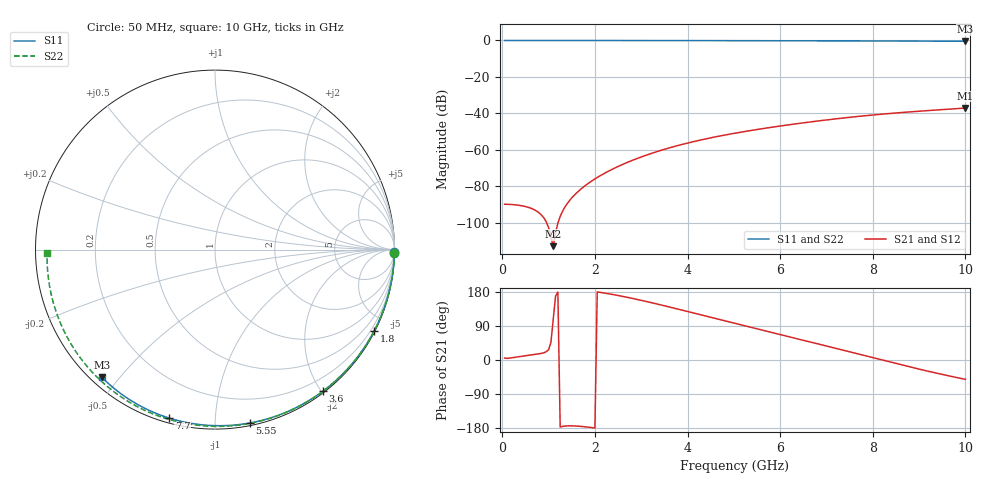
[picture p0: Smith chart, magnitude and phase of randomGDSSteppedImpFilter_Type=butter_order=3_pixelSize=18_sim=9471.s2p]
! freq	dB(S11)	phase(S11)	dB(S12)	phase(S12)
!  dB(S21)	phase(S21)	dB(S22)	phase(S22)
!S-par simulation data
#  GHz  S  DB  R 50
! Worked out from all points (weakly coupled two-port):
!   200 points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, 50 MHz to 10 GHz, reference 50 ohm
!   highest |S21| = -37.04 dB at 10 GHz (marker M1); lowest = -112.7 dB at 1.1 GHz (marker M2)
!   lowest |S11| = -0.4 dB at 10 GHz (marker M3), VSWR 39.19, Z = 1.53 - j22.5 ohm
!   |S11| at or under -10 dB: nowhere
!   |S22| runs from -0.6 to 0.0 dB; largest |S21 - S12| = 0
!   S11 on the Smith chart (normalised r, x): 50 MHz: open; 1.8 GHz: 0.04, -4.17; 3.6 GHz: 0.02, -2.02; 5.55 GHz: 0.02, -1.22; 7.7 GHz: 0.02, -0.77; 10 GHz: 0.03, -0.45
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0.05  -0.00 -0.8  -89.77 5.1  -89.77 5.1  -0.00 -1.0
0.55  -0.01 -8.3  -91.35 12.1  -91.35 12.1  -0.02 -11.4
1.1  -0.02 -16.6  -112.74 107.5  -112.74 107.5  -0.03 -22.6
1.75  -0.03 -26.2  -80.35 -175.8  -80.35 -175.8  -0.04 -35.6
1.8  -0.03 -27.0  -79.37 -176.4  -79.37 -176.4  -0.05 -36.5
1.95  -0.04 -29.2  -76.69 -178.6  -76.69 -178.6  -0.05 -39.5
2.1  -0.04 -31.3  -74.33 178.7  -74.33 178.7  -0.05 -42.4
2.3  -0.04 -34.3  -71.54 174.7  -71.54 174.7  -0.06 -46.3
2.5  -0.05 -37.1  -69.06 170.3  -69.06 170.3  -0.06 -50.2
2.95  -0.06 -43.6  -64.31 158.8  -64.31 158.8  -0.08 -58.8
3.4  -0.07 -49.9  -60.43 146.1  -60.43 146.1  -0.09 -67.2
3.6  -0.07 -52.7  -58.92 140.1  -58.92 140.1  -0.10 -70.9
4.3  -0.09 -62.3  -54.45 118.7  -54.45 118.7  -0.12 -83.5
5.05  -0.11 -72.3  -50.71 95.7  -50.71 95.7  -0.15 -96.6
5.55  -0.13 -78.7  -48.60 80.6  -48.60 80.6  -0.17 -105.1
6.1  -0.15 -85.7  -46.52 64.1  -46.52 64.1  -0.20 -114.3
6.7  -0.18 -93.1  -44.49 46.0  -44.49 46.0  -0.24 -124.1
7.2  -0.21 -99.2  -42.97 30.8  -42.97 30.8  -0.28 -132.3
7.7  -0.24 -105.1  -41.59 15.3  -41.59 15.3  -0.32 -140.4
8.35  -0.29 -112.7  -40.06 -4.7  -40.06 -4.7  -0.39 -151.0
9.2  -0.36 -122.5  -38.42 -29.8  -38.42 -29.8  -0.48 -165.0
10  -0.44 -131.5  -37.04 -51.0  -37.04 -51.0  -0.58 -178.8
